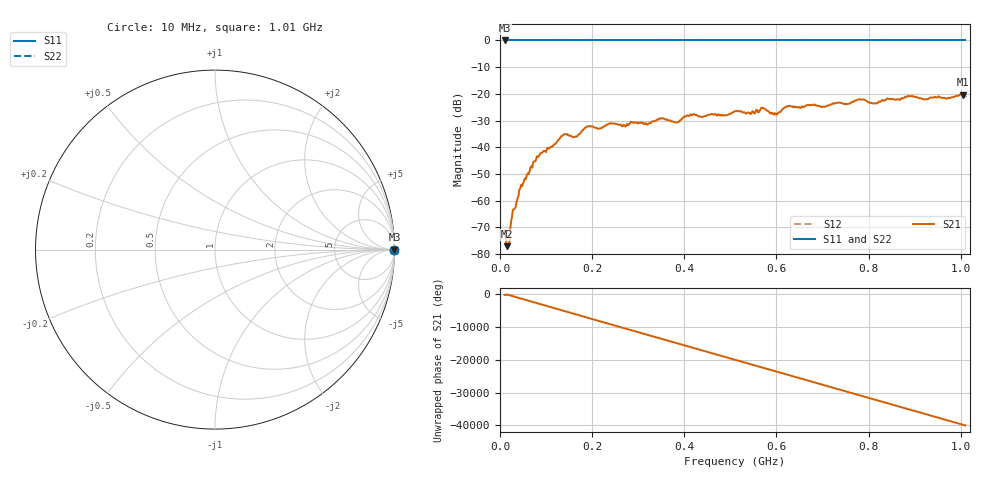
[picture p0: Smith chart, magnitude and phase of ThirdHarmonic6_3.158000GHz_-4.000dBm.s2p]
! 8/17/2025 9:28:23 AM
! C:\ANRITSUVNA\TEMP\TEMP.S2P
! CHANNEL.1
! TR.MEASUREMENT
! RAW.DATA
! RF.CORRECTION.OFF
! AVERAGING.OFF
! IF.BANDWIDTH: 5KHZ
! SWEEPTYPE:  FREQ.SWEEP(Linear)
! Reference Plane Port Info
! PORT:  PORT1  PORT2
! DISTANCE:  0  m  0  m
! TIME:  0  s  0  s
! PHASE.OFFSET:  0  deg.  0  deg.
! LOSS:  0  dB  0  dB
! REF.LOSS:  0  dB  0  dB
! REF.FREQ:  0  Hz  0  Hz
! Power Info
! POWER:  -20  dBm  -20  dBm
! EFF.POWER:  -20  dBm  -20  dBm
! SOURCE.ATTEN:  0  dB  0  dB
! TEST.ATTEN:  0  dB  0  dB
# GHZ S RI R 50.0
! FREQ.GHZ  S11RE  S11IM  S21RE  S21IM  S12RE  S12IM  S22RE  S22IM
!; PortSelection: Port_12
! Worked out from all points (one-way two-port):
!   501 points, 10 MHz to 1.01 GHz, reference 50 ohm
!   highest |S21| = -20.27 dB at 1.004 GHz (marker M1); lowest = -77.1 dB at 16 MHz (marker M2)
!   lowest |S11| = 0.0 dB at 10 MHz (marker M3)
!   |S11| at or under -10 dB: nowhere
!   |S22| runs from 0.0 to 0.0 dB; largest |S21 - S12| = 1.1
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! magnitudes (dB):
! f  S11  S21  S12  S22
! 10 MHz  0.0  -71.1  0.0  0.0
! 16 MHz  0.0  -77.1  0.0  0.0
! 20 MHz  0.0  -76.8  0.0  0.0
! 28 MHz  0.0  -63.4  0.0  0.0
! 42 MHz  0.0  -55.8  0.0  0.0
! 76 MHz  0.0  -45.3  0.0  0.0
! 136 MHz  0.0  -35.7  0.0  0.0
! 162 MHz  0.0  -36.2  0.0  0.0
! 178 MHz  0.0  -33.9  0.0  0.0
! 192 MHz  0.0  -32.1  0.0  0.0
! 318 MHz  0.0  -31.3  0.0  0.0
! 344 MHz  0.0  -29.7  0.0  0.0
! 384 MHz  0.0  -30.6  0.0  0.0
! 418 MHz  0.0  -28.0  0.0  0.0
! 510 MHz  0.0  -26.5  0.0  0.0
! 570 MHz  0.0  -25.2  0.0  0.0
! 598 MHz  0.0  -27.4  0.0  0.0
! 624 MHz  0.0  -24.7  0.0  0.0
! 678 MHz  0.0  -24.1  0.0  0.0
! 844 MHz  0.0  -21.9  0.0  0.0
! 1.004 GHz  0.0  -20.3  0.0  0.0
! 1.01 GHz  0.0  -20.9  0.0  0.0
